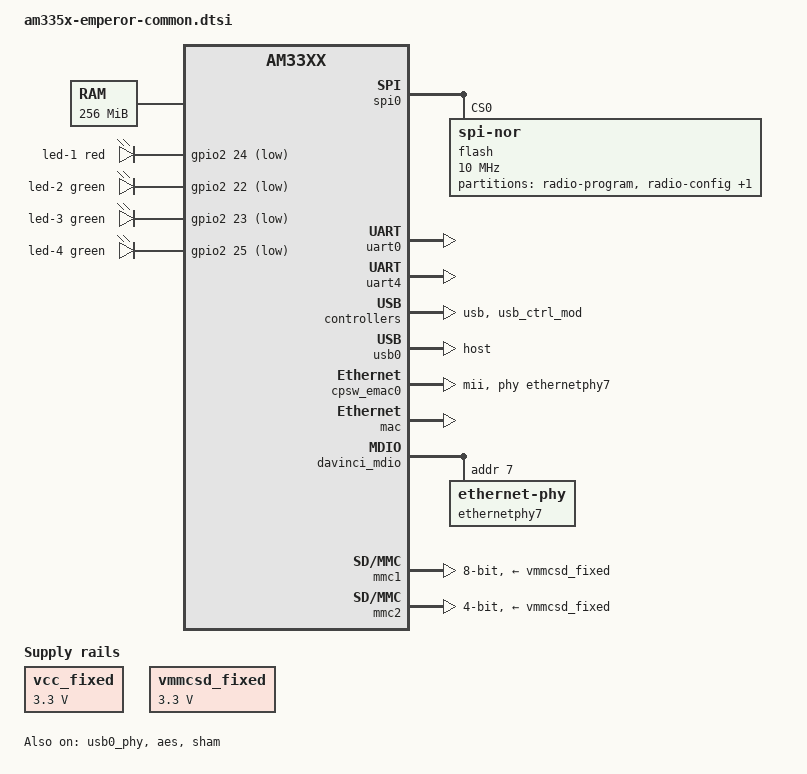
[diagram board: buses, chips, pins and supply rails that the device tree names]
// SPDX-License-Identifier: GPL-2.0-only
/*
 * Device Tree Include file for Kamstrup emperor platforms.
 *
 * Copyright (C) 2025 Kamstrup A/S
 * Author: Bruno Thomsen <bruno.thomsen@gmail.com>
 *         Lars Alex Pedersen <lapeddk@gmail.com>
 */

#include "am33xx.dtsi"
#include <dt-bindings/leds/common.h>

/ {
	memory@80000000 {
		device_type = "memory";
		reg = <0x80000000 0x10000000>; /* 256 MB */
	};

	chosen {
		stdout-path = &uart0;
	};

	/*
	 * Internal LEDs on baseband board (emperor 55501738, mini 55502242),
	 * not part of the HMI.
	 * emperor-mini extends this node with led-5 for HMI power control.
	 */
	leds: leds {
		compatible = "gpio-leds";
		pinctrl-names = "default";
		pinctrl-0 = <&leds_pins_default>;

		led-1 {
			color = <LED_COLOR_ID_RED>;
			function = LED_FUNCTION_STATUS;
			gpios = <&gpio2 24 GPIO_ACTIVE_LOW>;
			default-state = "off";
		};

		led-2 {
			color = <LED_COLOR_ID_GREEN>;
			function = LED_FUNCTION_STATUS;
			function-enumerator = <1>;
			gpios = <&gpio2 22 GPIO_ACTIVE_LOW>;
			default-state = "off";
		};

		led-3 {
			color = <LED_COLOR_ID_GREEN>;
			function = LED_FUNCTION_STATUS;
			function-enumerator = <2>;
			gpios = <&gpio2 23 GPIO_ACTIVE_LOW>;
			default-state = "off";
		};

		led-4 {
			color = <LED_COLOR_ID_GREEN>;
			function = LED_FUNCTION_HEARTBEAT;
			gpios = <&gpio2 25 GPIO_ACTIVE_LOW>;
			default-state = "on";
			linux,default-trigger = "heartbeat";
		};
	};

	vcc_fixed: regulator-vcc {
		compatible = "regulator-fixed";
		regulator-name = "vcc_fixed";
		regulator-min-microvolt = <3300000>;
		regulator-max-microvolt = <3300000>;
		regulator-boot-on;
	};

	vmmcsd_fixed: regulator-vmmcsd {
		compatible = "regulator-fixed";
		regulator-name = "vmmcsd_fixed";
		regulator-min-microvolt = <3300000>;
		regulator-max-microvolt = <3300000>;
	};
};

/*
 * Restrict 1.1 V operating point to increase SoC life-time
 * by removing the following opp's:
 * - OPP120-1
 * - OPP120-2
 * - OPP Turbo-1
 * - OPP Turbo-2
 * - OPP Nitro
 *
 * Note: This limits SoC operating point to maximum 600 MHz.
 */
&cpu0_opp_table {
	/delete-node/ opp-120-600000000;
	/delete-node/ opp-120-720000000;
	/delete-node/ opp-720000000;
	/delete-node/ opp-800000000;
	/delete-node/ opp-1000000000;
};

&gpio2 {
	gpio-line-names =
		"NC",
		"NC",
		"RADIO_GPIO0",
		"RADIO_GPIO1",
		"RADIO_GPIO2",
		"RADIO_GPIO3",
		"SYS_BOOT0",
		"SYS_BOOT1",
		"SYS_BOOT2",
		"SYS_BOOT3",
		"SYS_BOOT4",
		"SYS_BOOT5",
		"SYS_BOOT6",
		"SYS_BOOT7",
		"SYS_BOOT8",
		"SYS_BOOT9",
		"SYS_BOOT10",
		"SYS_BOOT11",
		"MII1_RXD3",
		"MII1_RXD2",
		"MII1_RXD1",
		"MII1_RXD0",
		"LED2",
		"LED3",
		"LED1",
		"LED4",
		"MMC0_DAT3",
		"MMC0_DAT2",
		"MMC0_DAT1",
		"MMC0_DAT0",
		"MMC0_CLK0",
		"MMC0_CMD";
};

&am33xx_pinmux {
	rtc_pins_default: rtc-pins {
		pinctrl-single,pins = <
			/* RTC Interrupt */
			AM33XX_PADCONF(AM335X_PIN_MCASP0_ACLKX, PIN_INPUT, MUX_MODE7) /* (A13) mcasp0_aclkx.gpio3[14] */
			/* Tamper state */
			AM33XX_PADCONF(AM335X_PIN_MCASP0_FSX, PIN_INPUT, MUX_MODE7) /* (B13) mcasp0_fsx.gpio3[15] */
			/* Power failure */
			AM33XX_PADCONF(AM335X_PIN_SPI0_CS1, PIN_INPUT, MUX_MODE7) /* (C15) spi0_cs1.gpio0[6] */
		>;
	};

	mii1_pins_default: mii1-pins {
		pinctrl-single,pins = <
			AM33XX_PADCONF(AM335X_PIN_MII1_COL, PIN_INPUT, MUX_MODE0) /* (H16) gmii1_col.gmii1_col */
			AM33XX_PADCONF(AM335X_PIN_MII1_CRS, PIN_INPUT, MUX_MODE0) /* (H17) gmii1_crs.gmii1_crs */
			AM33XX_PADCONF(AM335X_PIN_MII1_RX_ER, PIN_INPUT, MUX_MODE0) /* (J15) gmii1_rxer.gmii1_rxer */
			AM33XX_PADCONF(AM335X_PIN_MII1_TX_EN, PIN_OUTPUT, MUX_MODE0) /* (J16) gmii1_txen.gmii1_txen */
			AM33XX_PADCONF(AM335X_PIN_MII1_RX_DV, PIN_INPUT, MUX_MODE0) /* (J17) gmii1_rxdv.gmii1_rxdv */
			AM33XX_PADCONF(AM335X_PIN_MII1_TX_CLK, PIN_INPUT, MUX_MODE0) /* (K18) gmii1_txclk.gmii1_txclk */
			AM33XX_PADCONF(AM335X_PIN_MII1_RX_CLK, PIN_INPUT, MUX_MODE0) /* (L18) gmii1_rxclk.gmii1_rxclk */
			AM33XX_PADCONF(AM335X_PIN_MII1_TXD0, PIN_OUTPUT, MUX_MODE0) /* (K17) gmii1_txd0.gmii1_txd0 */
			AM33XX_PADCONF(AM335X_PIN_MII1_TXD1, PIN_OUTPUT, MUX_MODE0) /* (K16) gmii1_txd1.gmii1_txd1 */
			AM33XX_PADCONF(AM335X_PIN_MII1_TXD2, PIN_OUTPUT, MUX_MODE0) /* (K15) gmii1_txd2.gmii1_txd2 */
			AM33XX_PADCONF(AM335X_PIN_MII1_TXD3, PIN_OUTPUT, MUX_MODE0) /* (J18) gmii1_txd3.gmii1_txd3 */
			AM33XX_PADCONF(AM335X_PIN_MII1_RXD0, PIN_INPUT, MUX_MODE0) /* (M16) gmii1_rxd0.gmii1_rxd0 */
			AM33XX_PADCONF(AM335X_PIN_MII1_RXD1, PIN_INPUT, MUX_MODE0) /* (L15) gmii1_rxd1.gmii1_rxd1 */
			AM33XX_PADCONF(AM335X_PIN_MII1_RXD2, PIN_INPUT, MUX_MODE0) /* (L16) gmii1_rxd2.gmii1_rxd2 */
			AM33XX_PADCONF(AM335X_PIN_MII1_RXD3, PIN_INPUT, MUX_MODE0) /* (L17) gmii1_rxd3.gmii1_rxd3 */
		>;
	};

	mdio_pins_default: mdio-pins {
		pinctrl-single,pins = <
			AM33XX_PADCONF(AM335X_PIN_MDC, PIN_OUTPUT_PULLUP, MUX_MODE0) /* (M18) mdio_clk.mdio_clk */
			AM33XX_PADCONF(AM335X_PIN_MDIO, PIN_INPUT_PULLUP, MUX_MODE0) /* (M17) mdio_data.mdio_data */
		>;
	};

	i2c0_pins_default: i2c0-pins {
		pinctrl-single,pins = <
			AM33XX_PADCONF(AM335X_PIN_I2C0_SCL, PIN_INPUT, MUX_MODE0) /* (C16) I2C0_SCL.I2C0_SCL */
			AM33XX_PADCONF(AM335X_PIN_I2C0_SDA, PIN_INPUT, MUX_MODE0) /* (C17) I2C0_SDA.I2C0_SDA */
		>;
	};

	i2c1_pins_default: i2c1-pins {
		pinctrl-single,pins = <
			AM33XX_PADCONF(AM335X_PIN_UART1_TXD, PIN_INPUT, MUX_MODE3) /* (D15) uart1_txd.I2C1_SCL */
			AM33XX_PADCONF(AM335X_PIN_UART1_RXD, PIN_INPUT, MUX_MODE3) /* (D16) uart1_rxd.I2C1_SDA */
		>;
	};

	spi0_pins_default: spi0-pins {
		pinctrl-single,pins = <
			AM33XX_PADCONF(AM335X_PIN_SPI0_SCLK, PIN_INPUT, MUX_MODE0) /* (A17) spi0_sclk.spi0_sclk */
			AM33XX_PADCONF(AM335X_PIN_SPI0_D0, PIN_INPUT_PULLUP, MUX_MODE0) /* (B17) spi0_d0.spi0_d0 */
			AM33XX_PADCONF(AM335X_PIN_SPI0_D1, PIN_INPUT, MUX_MODE0) /* (B16) spi0_d1.spi0_d1 */
			AM33XX_PADCONF(AM335X_PIN_SPI0_CS0, PIN_INPUT_PULLUP, MUX_MODE0) /* (A16) spi0_cs0.spi0_cs0 */
		>;
	};

	uart0_pins_default: uart0-pins {
		pinctrl-single,pins = <
			AM33XX_PADCONF(AM335X_PIN_UART0_RXD, PIN_INPUT_PULLUP, MUX_MODE0) /* (E15) uart0_rxd.uart0_rxd */
			AM33XX_PADCONF(AM335X_PIN_UART0_TXD, PIN_OUTPUT, MUX_MODE0) /* (E16) uart0_txd.uart0_txd */
		>;
	};

	uart4_pins_default: uart4-pins {
		pinctrl-single,pins = <
			AM33XX_PADCONF(AM335X_PIN_UART0_CTSN, PIN_INPUT_PULLUP, MUX_MODE1) /* (E18) uart0_ctsn.uart4_rxd */
			AM33XX_PADCONF(AM335X_PIN_UART0_RTSN, PIN_OUTPUT, MUX_MODE1) /* (E17) uart0_rtsn.uart4_txd */
		>;
	};

	sdcard_pins_default: sdcard-pins {
		pinctrl-single,pins = <
			AM33XX_PADCONF(AM335X_PIN_MMC0_CLK, PIN_INPUT, MUX_MODE0) /* (G17) mmc0_clk.mmc0_clk */
			AM33XX_PADCONF(AM335X_PIN_MMC0_CMD, PIN_INPUT, MUX_MODE0) /* (G18) mmc0_cmd.mmc0_cmd */
			AM33XX_PADCONF(AM335X_PIN_MMC0_DAT0, PIN_INPUT, MUX_MODE0) /* (G16) mmc0_dat0.mmc0_dat0 */
			AM33XX_PADCONF(AM335X_PIN_MMC0_DAT1, PIN_INPUT, MUX_MODE0) /* (G15) mmc0_dat1.mmc0_dat1 */
			AM33XX_PADCONF(AM335X_PIN_MMC0_DAT2, PIN_INPUT, MUX_MODE0) /* (F18) mmc0_dat2.mmc0_dat2 */
			AM33XX_PADCONF(AM335X_PIN_MMC0_DAT3, PIN_INPUT, MUX_MODE0) /* (F17) mmc0_dat3.mmc0_dat3 */
		>;
	};

	emmc_pins_default: emmc-pins {
		pinctrl-single,pins = <
			AM33XX_PADCONF(AM335X_PIN_GPMC_CSN1, PIN_INPUT, MUX_MODE2) /* (U9) gpmc_csn1.mmc1_clk */
			AM33XX_PADCONF(AM335X_PIN_GPMC_CSN2, PIN_INPUT, MUX_MODE2) /* (V9) gpmc_csn2.mmc1_cmd */
			AM33XX_PADCONF(AM335X_PIN_GPMC_AD0, PIN_INPUT, MUX_MODE1) /* (U7) gpmc_ad0.mmc1_dat0 */
			AM33XX_PADCONF(AM335X_PIN_GPMC_AD1, PIN_INPUT, MUX_MODE1) /* (V7) gpmc_ad1.mmc1_dat1 */
			AM33XX_PADCONF(AM335X_PIN_GPMC_AD2, PIN_INPUT, MUX_MODE1) /* (R8) gpmc_ad2.mmc1_dat2 */
			AM33XX_PADCONF(AM335X_PIN_GPMC_AD3, PIN_INPUT, MUX_MODE1) /* (T8) gpmc_ad3.mmc1_dat3 */
			AM33XX_PADCONF(AM335X_PIN_GPMC_AD4, PIN_INPUT, MUX_MODE1) /* (U8) gpmc_ad4.mmc1_dat4 */
			AM33XX_PADCONF(AM335X_PIN_GPMC_AD5, PIN_INPUT, MUX_MODE1) /* (V8) gpmc_ad5.mmc1_dat5 */
			AM33XX_PADCONF(AM335X_PIN_GPMC_AD6, PIN_INPUT, MUX_MODE1) /* (R9) gpmc_ad6.mmc1_dat6 */
			AM33XX_PADCONF(AM335X_PIN_GPMC_AD7, PIN_INPUT, MUX_MODE1) /* (T9) gpmc_ad7.mmc1_dat7 */
		>;
	};

	leds_pins_default: leds-pins {
		pinctrl-single,pins = <
			AM33XX_PADCONF(AM335X_PIN_LCD_VSYNC, PIN_OUTPUT, MUX_MODE7) /* (U5) lcd_vsync.gpio2[22] */
			AM33XX_PADCONF(AM335X_PIN_LCD_HSYNC, PIN_OUTPUT, MUX_MODE7) /* (R5) lcd_hsync.gpio2[23] */
			AM33XX_PADCONF(AM335X_PIN_LCD_PCLK, PIN_OUTPUT, MUX_MODE7) /* (V5) lcd_pclk.gpio2[24] */
			AM33XX_PADCONF(AM335X_PIN_LCD_AC_BIAS_EN, PIN_OUTPUT, MUX_MODE7) /* (R6) lcd_ac_bias_en.gpio2[25] */
			/* led-5 on emperor-mini, NC on emperor */
			AM33XX_PADCONF(AM335X_PIN_GPMC_AD12, PIN_INPUT_PULLDOWN, MUX_MODE7) /* (T12) gpmc_ad12.gpio1[12] */
		>;
	};

	sdr_radio_pins_default: sdr-radio-pins {
		pinctrl-single,pins = <
			/* Radio irq */
			AM33XX_PADCONF(AM335X_PIN_XDMA_EVENT_INTR1, PIN_INPUT_PULLUP, MUX_MODE7) /* (D14) xdma_event_intr1.gpio0[20] */
			/* Radio init_b */
			AM33XX_PADCONF(AM335X_PIN_MCASP0_AXR0, PIN_INPUT_PULLUP, MUX_MODE7) /* (D12) mcasp0_axr0.gpio3[16] */
			/* Radio prog_done */
			AM33XX_PADCONF(AM335X_PIN_MCASP0_AHCLKR, PIN_INPUT_PULLUP, MUX_MODE7) /* (C12) mcasp0_ahclkr.gpio3[17] */
			/* Radio gpio0 to gpio5 */
			AM33XX_PADCONF(AM335X_PIN_GPMC_ADVN_ALE, PIN_INPUT_PULLUP, MUX_MODE7) /* (R7) gpmc_advn_ale.gpio2[2] */
			AM33XX_PADCONF(AM335X_PIN_GPMC_OEN_REN, PIN_INPUT_PULLUP, MUX_MODE7) /* (T7) gpmc_oen_ren.gpio2[3] */
			AM33XX_PADCONF(AM335X_PIN_GPMC_WEN, PIN_INPUT_PULLUP, MUX_MODE7) /* (U6) gpmc_wen.gpio2[4] */
			AM33XX_PADCONF(AM335X_PIN_GPMC_BEN0_CLE, PIN_INPUT_PULLUP, MUX_MODE7) /* (T6) gpmc_be0n_cle.gpio2[5] */
			AM33XX_PADCONF(AM335X_PIN_ECAP0_IN_PWM0_OUT, PIN_INPUT_PULLUP, MUX_MODE7) /* (C18) eCAP0_in_PWM0_out.gpio0[7] */
			AM33XX_PADCONF(AM335X_PIN_XDMA_EVENT_INTR0, PIN_INPUT_PULLUP, MUX_MODE7) /* (A15) xdma_event_intr0.gpio0[19] */
			/* Radio power */
			AM33XX_PADCONF(AM335X_PIN_MCASP0_ACLKR, PIN_OUTPUT, MUX_MODE7) /* (B12) mcasp0_aclkr.gpio3[18] */
			/* Radio flash mux */
			AM33XX_PADCONF(AM335X_PIN_MCASP0_FSR, PIN_OUTPUT, MUX_MODE7) /* (C13) mcasp0_fsr.gpio3[19] */
			/* Radio reset */
			AM33XX_PADCONF(AM335X_PIN_MCASP0_AXR1, PIN_OUTPUT, MUX_MODE7) /* (D13) mcasp0_axr1.gpio3[20] */
			/* Radio flash reset */
			AM33XX_PADCONF(AM335X_PIN_MCASP0_AHCLKX, PIN_OUTPUT, MUX_MODE7) /* (A14) mcasp0_ahclkx.gpio3[21] */
		>;
	};
};

/*
 * SPI bus on radio frontend board.
 */
&spi0 {
	status = "okay";
	pinctrl-names = "default";
	pinctrl-0 = <&spi0_pins_default>;
	ti,spi-num-cs = <1>;

	flash@0 {
		compatible = "jedec,spi-nor";
		reg = <0>;
		spi-tx-bus-width = <1>;
		spi-rx-bus-width = <1>;
		spi-max-frequency = <10000000>;

		/* Radio flash is 32 MBytes in size.
		 * 64 KB blocks of configurations are located in the
		 * last part of the storage.
		 */
		partitions {
			compatible = "fixed-partitions";
			#address-cells = <1>;
			#size-cells = <1>;
			partition@0 {
				reg = <0x0 0xfe0000>;
				label = "radio-program";
			};
			partition@fe0000 {
				reg = <0xfe0000 0x10000>;
				label = "radio-config";
			};
			partition@ff0000 {
				reg = <0xff0000 0x10000>;
				label = "baseband-config";
			};
		};
	};
};

&uart0 {
	pinctrl-names = "default";
	pinctrl-0 = <&uart0_pins_default>;
	status = "okay";
};

/*
 * SDR radio low-level error logging.
 * Works even if primary USB communication has issues.
 */
&uart4 {
	pinctrl-names = "default";
	pinctrl-0 = <&uart4_pins_default>;
	status = "okay";
};

&usb {
	status = "okay";
};

&usb_ctrl_mod {
	status = "okay";
};

/*
 * Host USB port 0 is used for SDR FPGA communication.
 */
&usb0_phy {
	status = "okay";
};

&usb0 {
	status = "okay";
	dr_mode = "host";
};

&cppi41dma {
	status = "okay";
};

&cpsw_emac0 {
	phy-mode = "mii";
	phy-handle = <&ethernetphy7>;
};

&mac {
	pinctrl-names = "default";
	pinctrl-0 = <&mii1_pins_default>;
	status = "okay";
	slaves = <1>;
};

&davinci_mdio {
	pinctrl-names = "default";
	pinctrl-0 = <&mdio_pins_default>;
	status = "okay";

	ethernetphy7: ethernet-phy@7 {
		reg = <7>;
		smsc,disable-energy-detect;
	};
};

/* eMMC disk */
&mmc1 {
	status = "okay";
	bus-width = <8>;
	vmmc-supply = <&vmmcsd_fixed>;
	pinctrl-names = "default";
	pinctrl-0 = <&emmc_pins_default>;

	/*
	 * am335x doesn't support DDR, so make sure the data signal is set
	 * early in the clock cycle
	 */
	/delete-property/ ti,needs-special-hs-handling;
};

/* microSD card, used during manufacturing */
&mmc2 {
	status = "okay";
	bus-width = <4>;
	vmmc-supply = <&vmmcsd_fixed>;
	pinctrl-names = "default";
	pinctrl-0 = <&sdcard_pins_default>;
};

&rtc {
	ti,no-init;
	status = "disabled";
};

&aes {
	status = "okay";
};

&sham {
	status = "okay";
};
